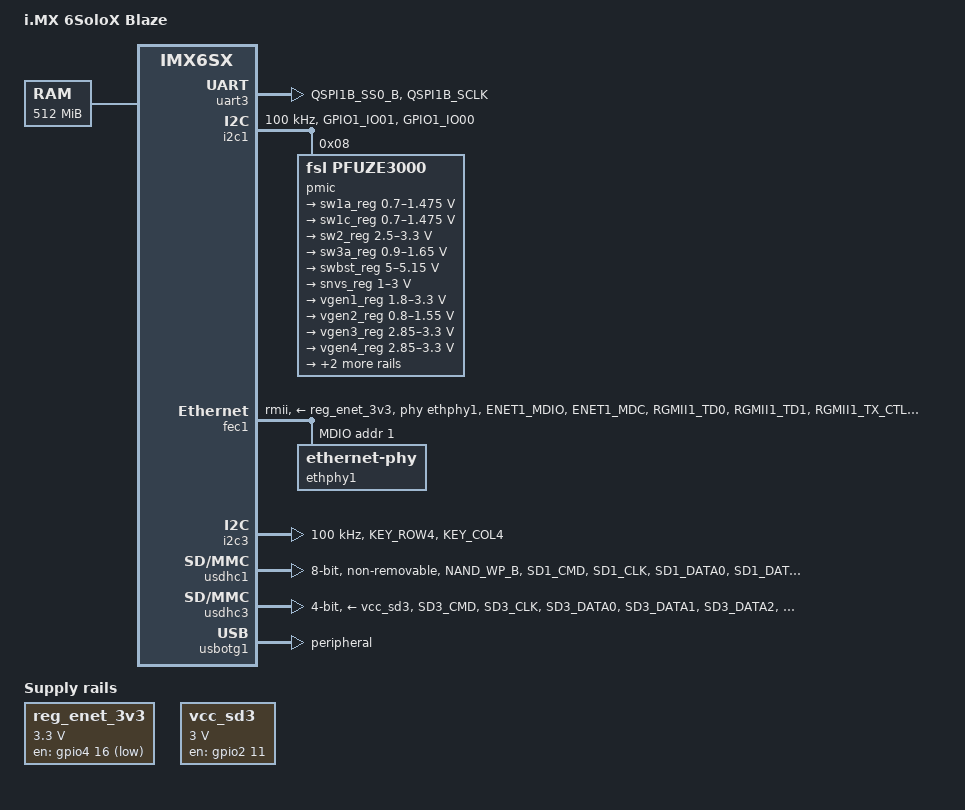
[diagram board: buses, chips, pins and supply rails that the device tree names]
// SPDX-License-Identifier: GPL-2.0
/*
 * Copyright (C) 2014-2015 Freescale Semiconductor, Inc.
 *
 * U-Boot control device tree. Only what U-Boot itself needs; the Linux device
 * tree carries the rest of the carrier.
 */

/dts-v1/;

#include <dt-bindings/gpio/gpio.h>
#include "imx6sx.dtsi"

/ {
	model = "i.MX 6SoloX Blaze";
	compatible = "fsl,imx6sx-blaze", "fsl,imx6sx";

	chosen {
		stdout-path = &uart3;
	};

	memory@80000000 {
		device_type = "memory";
		reg = <0x80000000 0x20000000>;	/* 512 MB */
	};

	/*
	 * The Ethernet PHY's 3V3 is switched, enable active low.
	 */
	reg_enet_3v3: regulator-enet-3v3 {
		compatible = "regulator-fixed";
		pinctrl-names = "default";
		pinctrl-0 = <&pinctrl_enet_3v3>;
		regulator-name = "enet_3v3";
		regulator-min-microvolt = <3300000>;
		regulator-max-microvolt = <3300000>;
		gpio = <&gpio4 16 GPIO_ACTIVE_LOW>;
	};

	/* The SD socket's 3V0 is switched on GPIO2_11, enable active high. */
	vcc_sd3: regulator-vcc-sd3 {
		compatible = "regulator-fixed";
		pinctrl-names = "default";
		pinctrl-0 = <&pinctrl_vcc_sd3>;
		regulator-name = "VCC_SD3";
		regulator-min-microvolt = <3000000>;
		regulator-max-microvolt = <3000000>;
		gpio = <&gpio2 11 GPIO_ACTIVE_HIGH>;
		off-on-delay-us = <20000>;
		enable-active-high;
	};
};

/*
 * The sysreset provider `reset` needs. wdog1 asserts WDOG_ANY, which this
 * board wires to a power cycle.
 */
/ {
	wdt_reboot: wdt-reboot {
		compatible = "wdt-reboot";
		wdt = <&wdog1>;
	};
};

&uart3 {
	pinctrl-names = "default";
	pinctrl-0 = <&pinctrl_uart3>;
	status = "okay";
};

&i2c1 {
	clock-frequency = <100000>;
	pinctrl-names = "default";
	pinctrl-0 = <&pinctrl_i2c1>;
	status = "okay";

	/*
	 * Node name must stay pfuze100@8: pmic_get() looks the PMIC up by node
	 * name, not compatible.
	 */
	pmic: pfuze100@8 {
		compatible = "fsl,pfuze3000";
		reg = <0x08>;

		regulators {
			sw1a_reg: sw1a {
				regulator-min-microvolt = <700000>;
				regulator-max-microvolt = <1475000>;
				regulator-boot-on;
				regulator-always-on;
				regulator-ramp-delay = <6250>;
			};

			/* sw1c_reg label to align with pfuze100/pfuze200 */
			sw1c_reg: sw1b {
				regulator-min-microvolt = <700000>;
				regulator-max-microvolt = <1475000>;
				regulator-boot-on;
				regulator-always-on;
				regulator-ramp-delay = <6250>;
			};

			sw2_reg: sw2 {
				regulator-min-microvolt = <2500000>;
				regulator-max-microvolt = <3300000>;
				regulator-boot-on;
				regulator-always-on;
			};

			sw3a_reg: sw3 {
				regulator-min-microvolt = <900000>;
				regulator-max-microvolt = <1650000>;
				regulator-boot-on;
				regulator-always-on;
			};

			swbst_reg: swbst {
				regulator-min-microvolt = <5000000>;
				regulator-max-microvolt = <5150000>;
			};

			snvs_reg: vsnvs {
				regulator-min-microvolt = <1000000>;
				regulator-max-microvolt = <3000000>;
				regulator-boot-on;
				regulator-always-on;
			};

			vref_reg: vrefddr {
				regulator-boot-on;
				regulator-always-on;
			};

			vgen1_reg: vldo1 {
				regulator-min-microvolt = <1800000>;
				regulator-max-microvolt = <3300000>;
			};

			vgen2_reg: vldo2 {
				regulator-min-microvolt = <800000>;
				regulator-max-microvolt = <1550000>;
			};

			vgen3_reg: vccsd {
				regulator-min-microvolt = <2850000>;
				regulator-max-microvolt = <3300000>;
				regulator-always-on;
			};

			vgen4_reg: v33 {
				regulator-min-microvolt = <2850000>;
				regulator-max-microvolt = <3300000>;
				regulator-always-on;
			};

			vgen5_reg: vldo3 {
				regulator-min-microvolt = <1800000>;
				regulator-max-microvolt = <3300000>;
			};

			vgen6_reg: vldo4 {
				regulator-min-microvolt = <1800000>;
				regulator-max-microvolt = <3300000>;
				regulator-always-on;
			};
		};
	};
};

/*
 * Micrel KSZ8081RNBIA on ENET1 at MDIO address 1, RMII -- not the SABRE-SD's
 * rgmii-id. The PHY's reset is GPIO5_12 and is not optional: held asserted the
 * part never answers MDIO.
 */
&fec1 {
	pinctrl-names = "default";
	pinctrl-0 = <&pinctrl_enet1>;
	phy-supply = <&reg_enet_3v3>;
	phy-mode = "rmii";
	phy-handle = <&ethphy1>;
	phy-reset-gpios = <&gpio5 12 GPIO_ACTIVE_LOW>;
	phy-reset-duration = <15>;
	phy-reset-post-delay = <10>;
	status = "okay";

	mdio {
		#address-cells = <1>;
		#size-cells = <0>;

		ethphy1: ethernet-phy@1 {
			reg = <1>;
			micrel,led-mode = <1>;
		};
	};
};

/*
 * I2C3 carries a Microchip 24AA02E48 at 0x50 whose last six bytes hold this
 * board's EUI-48. board_late_init() reads it into ethaddr.
 */
&i2c3 {
	clock-frequency = <100000>;
	pinctrl-names = "default";
	pinctrl-0 = <&pinctrl_i2c3>;
	status = "okay";
};

/* eMMC, 8-bit, soldered down: the boot device and the environment store. */
&usdhc1 {
	pinctrl-names = "default";
	pinctrl-0 = <&pinctrl_usdhc1>;
	bus-width = <8>;
	non-removable;
	status = "okay";
};

/*
 * no-1-8-v: the socket is 3V0 only, and a card negotiating 1.8 V panics on
 * this hardware.
 */
&usdhc3 {
	pinctrl-names = "default";
	pinctrl-0 = <&pinctrl_usdhc3>;
	bus-width = <4>;
	no-1-8-v;
	vmmc-supply = <&vcc_sd3>;
	cd-gpios = <&gpio2 10 GPIO_ACTIVE_LOW>;
	status = "okay";
};

/*
 * USB OTG1, the port the boot ROM's serial downloader comes up on and the one
 * fastboot and ums answer on; the SoC device tree leaves it disabled.
 * Peripheral rather than otg: this is the install port, and the control device
 * tree carries no ID pin for role detection.
 */
&usbotg1 {
	dr_mode = "peripheral";
	status = "okay";
};

&wdog1 {
	pinctrl-names = "default";
	pinctrl-0 = <&pinctrl_wdog>;
	fsl,ext-reset-output;
};

&iomuxc {
	pinctrl_uart3: uart3grp {
		fsl,pins = <
			MX6SX_PAD_QSPI1B_SS0_B__UART3_DCE_TX	0x1b0b1
			MX6SX_PAD_QSPI1B_SCLK__UART3_DCE_RX	0x1b0b1
		>;
	};

	pinctrl_i2c1: i2c1grp {
		fsl,pins = <
			MX6SX_PAD_GPIO1_IO01__I2C1_SDA		0x4001b088
			MX6SX_PAD_GPIO1_IO00__I2C1_SCL		0x4001b088
		>;
	};

	pinctrl_enet1: enet1grp {
		fsl,pins = <
			MX6SX_PAD_ENET1_MDIO__ENET1_MDIO		0xa0b1
			MX6SX_PAD_ENET1_MDC__ENET1_MDC			0xa0b1
			MX6SX_PAD_RGMII1_TD0__ENET1_TX_DATA_0		0xa0b1
			MX6SX_PAD_RGMII1_TD1__ENET1_TX_DATA_1		0xa0b1
			MX6SX_PAD_RGMII1_TX_CTL__ENET1_TX_EN		0xa0b1
			MX6SX_PAD_RGMII1_RXC__ENET1_RX_ER		0x3081
			MX6SX_PAD_RGMII1_RD0__ENET1_RX_DATA_0		0x3081
			MX6SX_PAD_RGMII1_RD1__ENET1_RX_DATA_1		0x3081
			MX6SX_PAD_RGMII1_RX_CTL__ENET1_RX_EN		0x3081
			MX6SX_PAD_ENET1_TX_CLK__ENET1_REF_CLK1		0x91
			MX6SX_PAD_ENET1_RX_CLK__ENET1_REF_CLK_25M	0x91
			MX6SX_PAD_RGMII2_RD0__GPIO5_IO_12		0x80000000
		>;
	};

	pinctrl_enet_3v3: enet3v3grp {
		fsl,pins = <
			MX6SX_PAD_QSPI1A_DATA0__GPIO4_IO_16	0x80000000
		>;
	};

	pinctrl_i2c3: i2c3grp {
		fsl,pins = <
			MX6SX_PAD_KEY_ROW4__I2C3_SDA		0x4001b8b1
			MX6SX_PAD_KEY_COL4__I2C3_SCL		0x4001b8b1
		>;
	};

	pinctrl_usdhc1: usdhc1grp {
		fsl,pins = <
			MX6SX_PAD_NAND_WP_B__USDHC1_RESET_B	0x17059
			MX6SX_PAD_SD1_CMD__USDHC1_CMD		0x17059
			MX6SX_PAD_SD1_CLK__USDHC1_CLK		0x10059
			MX6SX_PAD_SD1_DATA0__USDHC1_DATA0	0x17059
			MX6SX_PAD_SD1_DATA1__USDHC1_DATA1	0x17059
			MX6SX_PAD_SD1_DATA2__USDHC1_DATA2	0x17059
			MX6SX_PAD_SD1_DATA3__USDHC1_DATA3	0x17059
			MX6SX_PAD_NAND_DATA00__USDHC1_DATA4	0x17059
			MX6SX_PAD_NAND_DATA01__USDHC1_DATA5	0x17059
			MX6SX_PAD_NAND_DATA02__USDHC1_DATA6	0x17059
			MX6SX_PAD_NAND_DATA03__USDHC1_DATA7	0x17059
		>;
	};

	pinctrl_usdhc3: usdhc3grp {
		fsl,pins = <
			MX6SX_PAD_SD3_CMD__USDHC3_CMD		0x17059
			MX6SX_PAD_SD3_CLK__USDHC3_CLK		0x10061
			MX6SX_PAD_SD3_DATA0__USDHC3_DATA0	0x17059
			MX6SX_PAD_SD3_DATA1__USDHC3_DATA1	0x17059
			MX6SX_PAD_SD3_DATA2__USDHC3_DATA2	0x17059
			MX6SX_PAD_SD3_DATA3__USDHC3_DATA3	0x17059
			MX6SX_PAD_KEY_COL0__GPIO2_IO_10		0x17059
		>;
	};

	pinctrl_vcc_sd3: vccsd3grp {
		fsl,pins = <
			MX6SX_PAD_KEY_COL1__GPIO2_IO_11		0x17059
		>;
	};

	pinctrl_wdog: wdoggrp {
		fsl,pins = <
			MX6SX_PAD_GPIO1_IO13__WDOG1_WDOG_ANY	0x30b0
		>;
	};
};
